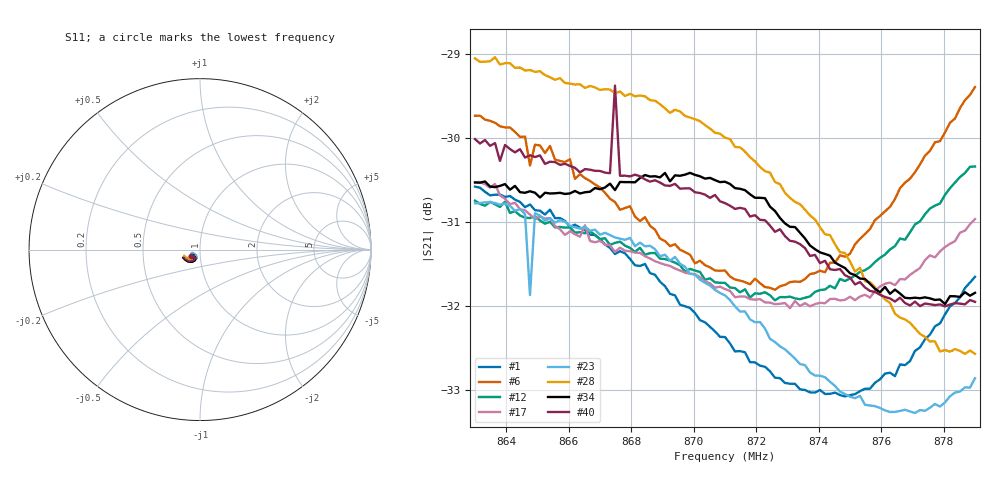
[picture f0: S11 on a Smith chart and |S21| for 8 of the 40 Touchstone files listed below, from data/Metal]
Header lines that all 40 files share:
# HZ S RI R 50
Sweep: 863 MHz to 879 MHz
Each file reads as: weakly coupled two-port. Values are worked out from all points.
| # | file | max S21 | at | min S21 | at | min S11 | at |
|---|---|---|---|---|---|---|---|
| 1 | mo0s1.s2p | -30.58 dB | 863 MHz | -33.1 dB | 874.84 MHz | -25.6 dB | 867.16 MHz |
| 2 | mo0s12.s2p | -30.74 dB | 863 MHz | -32.9 dB | 872.44 MHz | -24.6 dB | 864.44 MHz |
| 3 | mo0s13.s2p | -31.04 dB | 879 MHz | -34.1 dB | 870.68 MHz | -27.9 dB | 864.76 MHz |
| 4 | mo1s0.s2p | -30.42 dB | 863 MHz | -34.5 dB | 873.08 MHz | -25.9 dB | 867 MHz |
| 5 | mo1s1.s2p | -29.81 dB | 863 MHz | -32.6 dB | 872.44 MHz | -25.8 dB | 866.36 MHz |
| 6 | mo1s5.s2p | -29.40 dB | 879 MHz | -31.8 dB | 872.6 MHz | -25.6 dB | 864.92 MHz |
| 7 | mo1s6.s2p | -30.72 dB | 863 MHz | -35.5 dB | 872.76 MHz | -25.4 dB | 866.04 MHz |
| 8 | mo1s10.s2p | -29.87 dB | 879 MHz | -33.5 dB | 871.8 MHz | -28.7 dB | 867.16 MHz |
| 9 | mo1s11.s2p | -30.07 dB | 879 MHz | -33.8 dB | 870.68 MHz | -25.3 dB | 864.44 MHz |
| 10 | mo1s13.s2p | -29.78 dB | 863 MHz | -32.0 dB | 873.72 MHz | -22.0 dB | 867.16 MHz |
| 11 | mo2s3.s2p | -30.23 dB | 879 MHz | -32.3 dB | 872.44 MHz | -23.1 dB | 863.8 MHz |
| 12 | mo2s4.s2p | -30.34 dB | 879 MHz | -31.9 dB | 872.6 MHz | -25.4 dB | 865.4 MHz |
| 13 | mo2s6.s2p | -29.11 dB | 864.12 MHz | -31.2 dB | 874.04 MHz | -24.7 dB | 865.56 MHz |
| 14 | mo3s1.s2p | -28.91 dB | 879 MHz | -31.5 dB | 870.36 MHz | -26.5 dB | 864.44 MHz |
| 15 | mo3s7.s2p | -28.91 dB | 879 MHz | -31.2 dB | 864.28 MHz | -26.1 dB | 864.44 MHz |
| 16 | mo3s8.s2p | -29.07 dB | 879 MHz | -31.8 dB | 863 MHz | -28.0 dB | 864.44 MHz |
| 17 | mo3s9.s2p | -30.53 dB | 863.16 MHz | -32.0 dB | 873.08 MHz | -25.5 dB | 866.52 MHz |
| 18 | mo4s0.s2p | -31.16 dB | 879 MHz | -36.8 dB | 869.08 MHz | -38.7 dB | 867.8 MHz |
| 19 | mo4s5.s2p | -29.09 dB | 879 MHz | -32.1 dB | 863 MHz | -26.4 dB | 863.64 MHz |
| 20 | mo4s6.s2p | -29.19 dB | 879 MHz | -31.9 dB | 863.32 MHz | -32.3 dB | 863.8 MHz |
| 21 | mo4s10.s2p | -30.37 dB | 879 MHz | -32.8 dB | 871.8 MHz | -26.0 dB | 866.2 MHz |
| 22 | mo5s2.s2p | -30.27 dB | 863 MHz | -32.8 dB | 877.24 MHz | -26.2 dB | 866.04 MHz |
| 23 | mo6s3.s2p | -30.77 dB | 863.48 MHz | -33.3 dB | 877.08 MHz | -28.5 dB | 866.04 MHz |
| 24 | mo6s4.s2p | -29.43 dB | 863.16 MHz | -32.6 dB | 877.72 MHz | -24.7 dB | 867.8 MHz |
| 25 | mo6s9.s2p | -29.79 dB | 863 MHz | -33.0 dB | 878.04 MHz | -25.8 dB | 866.04 MHz |
| 26 | mo6s11.s2p | -31.93 dB | 863 MHz | -36.6 dB | 876.76 MHz | -29.5 dB | 867.96 MHz |
| 27 | mo6s14.s2p | -30.41 dB | 863.64 MHz | -32.2 dB | 875 MHz | -28.5 dB | 865.24 MHz |
| 28 | mo7s1.s2p | -29.04 dB | 863.64 MHz | -32.6 dB | 879 MHz | -24.1 dB | 867.16 MHz |
| 29 | mo7s5.s2p | -30.14 dB | 863.16 MHz | -34.3 dB | 878.04 MHz | -25.6 dB | 867.8 MHz |
| 30 | mo7s6.s2p | -30.89 dB | 863.16 MHz | -33.4 dB | 876.76 MHz | -28.5 dB | 865.56 MHz |
| 31 | mo7s7.s2p | -29.94 dB | 863.32 MHz | -33.9 dB | 879 MHz | -24.8 dB | 868.12 MHz |
| 32 | mo8s4.s2p | -29.16 dB | 863.96 MHz | -32.4 dB | 878.84 MHz | -24.9 dB | 865.88 MHz |
| 33 | mo8s5.s2p | -29.22 dB | 863.32 MHz | -32.1 dB | 879 MHz | -25.1 dB | 865.4 MHz |
| 34 | mo9s0.s2p | -30.42 dB | 869.88 MHz | -32.0 dB | 878.04 MHz | -26.0 dB | 865.4 MHz |
| 35 | mo9s1.s2p | -28.98 dB | 863.8 MHz | -32.1 dB | 878.52 MHz | -25.4 dB | 865.08 MHz |
| 36 | mo9s9.s2p | -30.43 dB | 863 MHz | -34.3 dB | 878.84 MHz | -27.0 dB | 867.8 MHz |
| 37 | mo9s10.s2p | -32.60 dB | 863.16 MHz | -34.7 dB | 874.84 MHz | -34.2 dB | 866.04 MHz |
| 38 | mo9s11.s2p | -30.73 dB | 867 MHz | -33.8 dB | 875.48 MHz | -32.6 dB | 867 MHz |
| 39 | mo10s5.s2p | -29.68 dB | 863 MHz | -32.1 dB | 877.88 MHz | -25.4 dB | 867 MHz |
| 40 | mo10s7.s2p | -29.38 dB | 867.48 MHz | -32.0 dB | 878.04 MHz | -25.7 dB | 865.56 MHz |
